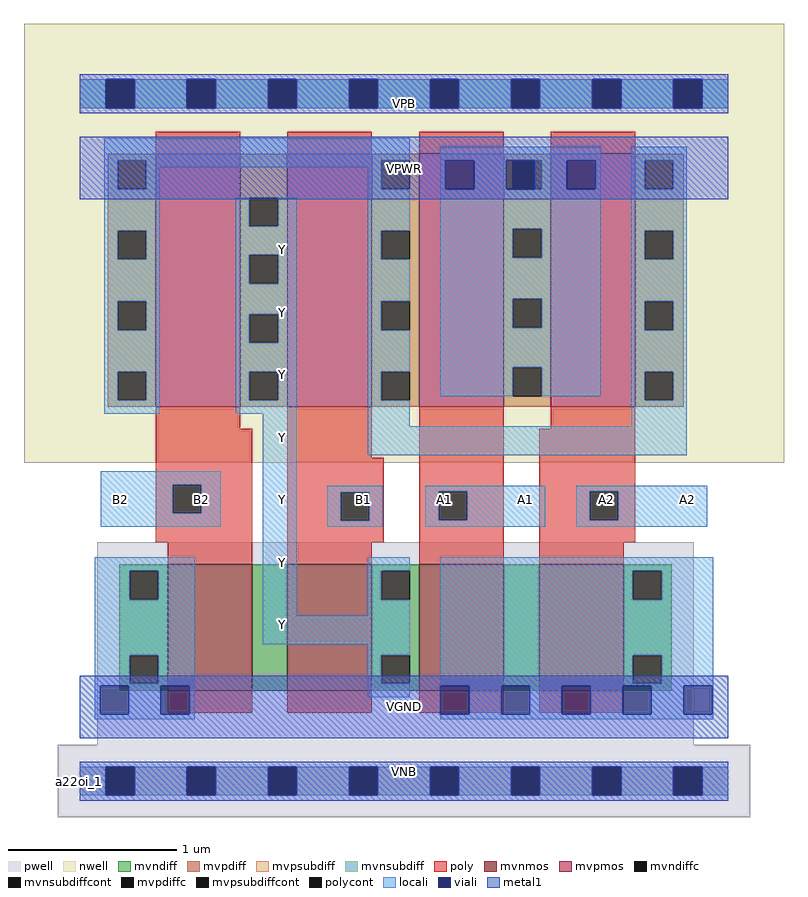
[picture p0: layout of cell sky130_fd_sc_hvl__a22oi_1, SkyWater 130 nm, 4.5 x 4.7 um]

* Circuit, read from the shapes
.subckt sky130_fd_sc_hvl__a22oi_1 A1 A2 B1 B2 VGND VNB VPB VPWR Y
XM1 n1 B2 VGND VNB sky130_fd_pr__nfet_g5v0d10v5 w=0.75 l=0.5
XM2 Y B1 n1 VNB sky130_fd_pr__nfet_g5v0d10v5 w=0.75 l=0.5
XM3 n2 A1 Y VNB sky130_fd_pr__nfet_g5v0d10v5 w=0.75 l=0.5
XM4 VGND A2 n2 VNB sky130_fd_pr__nfet_g5v0d10v5 w=0.75 l=0.5
XM5 Y B2 n3 VPB sky130_fd_pr__pfet_g5v0d10v5 w=1.5 l=0.5
XM6 n3 B1 Y VPB sky130_fd_pr__pfet_g5v0d10v5 w=1.5 l=0.5
XM7 VPWR A1 n3 VPB sky130_fd_pr__pfet_g5v0d10v5 w=1.5 l=0.5
XM8 n3 A2 VPWR VPB sky130_fd_pr__pfet_g5v0d10v5 w=1.5 l=0.5
.ends

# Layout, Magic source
magic
tech sky130A
magscale 1 2
<< nwell >>
rect -66 377 834 897
<< pwell >>
rect 21 43 727 283
rect -26 -43 794 43
<< mvnmos >>
rect 104 107 204 257
rect 246 107 346 257
rect 402 107 502 257
rect 544 107 644 257
<< mvpmos >>
rect 90 443 190 743
rect 246 443 346 743
rect 402 443 502 743
rect 558 443 658 743
<< mvndiff >>
rect 47 249 104 257
rect 47 215 59 249
rect 93 215 104 249
rect 47 149 104 215
rect 47 115 59 149
rect 93 115 104 149
rect 47 107 104 115
rect 204 107 246 257
rect 346 249 402 257
rect 346 215 357 249
rect 391 215 402 249
rect 346 149 402 215
rect 346 115 357 149
rect 391 115 402 149
rect 346 107 402 115
rect 502 107 544 257
rect 644 249 701 257
rect 644 215 655 249
rect 689 215 701 249
rect 644 149 701 215
rect 644 115 655 149
rect 689 115 701 149
rect 644 107 701 115
<< mvpdiff >>
rect 33 735 90 743
rect 33 701 45 735
rect 79 701 90 735
rect 33 652 90 701
rect 33 618 45 652
rect 79 618 90 652
rect 33 568 90 618
rect 33 534 45 568
rect 79 534 90 568
rect 33 485 90 534
rect 33 451 45 485
rect 79 451 90 485
rect 33 443 90 451
rect 190 691 246 743
rect 190 657 201 691
rect 235 657 246 691
rect 190 623 246 657
rect 190 589 201 623
rect 235 589 246 623
rect 190 553 246 589
rect 190 519 201 553
rect 235 519 246 553
rect 190 485 246 519
rect 190 451 201 485
rect 235 451 246 485
rect 190 443 246 451
rect 346 735 402 743
rect 346 701 357 735
rect 391 701 402 735
rect 346 652 402 701
rect 346 618 357 652
rect 391 618 402 652
rect 346 568 402 618
rect 346 534 357 568
rect 391 534 402 568
rect 346 485 402 534
rect 346 451 357 485
rect 391 451 402 485
rect 346 443 402 451
rect 502 735 558 743
rect 502 701 513 735
rect 547 701 558 735
rect 502 654 558 701
rect 502 620 513 654
rect 547 620 558 654
rect 502 571 558 620
rect 502 537 513 571
rect 547 537 558 571
rect 502 490 558 537
rect 502 456 513 490
rect 547 456 558 490
rect 502 443 558 456
rect 658 735 715 743
rect 658 701 669 735
rect 703 701 715 735
rect 658 652 715 701
rect 658 618 669 652
rect 703 618 715 652
rect 658 568 715 618
rect 658 534 669 568
rect 703 534 715 568
rect 658 485 715 534
rect 658 451 669 485
rect 703 451 715 485
rect 658 443 715 451
<< mvndiffc >>
rect 59 215 93 249
rect 59 115 93 149
rect 357 215 391 249
rect 357 115 391 149
rect 655 215 689 249
rect 655 115 689 149
<< mvpdiffc >>
rect 45 701 79 735
rect 45 618 79 652
rect 45 534 79 568
rect 45 451 79 485
rect 201 657 235 691
rect 201 589 235 623
rect 201 519 235 553
rect 201 451 235 485
rect 357 701 391 735
rect 357 618 391 652
rect 357 534 391 568
rect 357 451 391 485
rect 513 701 547 735
rect 513 620 547 654
rect 513 537 547 571
rect 513 456 547 490
rect 669 701 703 735
rect 669 618 703 652
rect 669 534 703 568
rect 669 451 703 485
<< mvpsubdiff >>
rect 0 -17 31 17
rect 65 -17 127 17
rect 161 -17 223 17
rect 257 -17 319 17
rect 353 -17 415 17
rect 449 -17 511 17
rect 545 -17 607 17
rect 641 -17 703 17
rect 737 -17 768 17
<< mvnsubdiff >>
rect 0 797 31 831
rect 65 797 127 831
rect 161 797 223 831
rect 257 797 319 831
rect 353 797 415 831
rect 449 797 511 831
rect 545 797 607 831
rect 641 797 703 831
rect 737 797 768 831
<< mvpsubdiffcont >>
rect 31 -17 65 17
rect 127 -17 161 17
rect 223 -17 257 17
rect 319 -17 353 17
rect 415 -17 449 17
rect 511 -17 545 17
rect 607 -17 641 17
rect 703 -17 737 17
<< mvnsubdiffcont >>
rect 31 797 65 831
rect 127 797 161 831
rect 223 797 257 831
rect 319 797 353 831
rect 415 797 449 831
rect 511 797 545 831
rect 607 797 641 831
rect 703 797 737 831
<< poly >>
rect 90 743 190 769
rect 246 743 346 769
rect 402 743 502 769
rect 558 743 658 769
rect 90 417 190 443
rect 90 351 204 417
rect 90 317 110 351
rect 144 317 204 351
rect 90 283 204 317
rect 104 257 204 283
rect 246 383 346 443
rect 246 342 360 383
rect 246 308 309 342
rect 343 308 360 342
rect 246 283 360 308
rect 402 343 502 443
rect 558 417 658 443
rect 402 309 425 343
rect 459 309 502 343
rect 246 257 346 283
rect 402 257 502 309
rect 544 343 658 417
rect 544 309 604 343
rect 638 309 658 343
rect 544 283 658 309
rect 544 257 644 283
rect 104 81 204 107
rect 246 81 346 107
rect 402 81 502 107
rect 544 81 644 107
<< polycont >>
rect 110 317 144 351
rect 309 308 343 342
rect 425 309 459 343
rect 604 309 638 343
<< locali >>
rect 0 797 31 831
rect 65 797 127 831
rect 161 797 223 831
rect 257 797 319 831
rect 353 797 415 831
rect 449 797 511 831
rect 545 797 607 831
rect 641 797 703 831
rect 737 797 768 831
rect 29 735 391 761
rect 29 701 45 735
rect 79 727 357 735
rect 79 701 95 727
rect 29 652 95 701
rect 341 701 357 727
rect 29 618 45 652
rect 79 618 95 652
rect 29 568 95 618
rect 29 534 45 568
rect 79 534 95 568
rect 29 485 95 534
rect 29 451 45 485
rect 79 451 95 485
rect 29 435 95 451
rect 185 657 201 691
rect 235 657 257 691
rect 185 623 257 657
rect 185 589 201 623
rect 235 589 257 623
rect 185 553 257 589
rect 185 519 201 553
rect 235 519 257 553
rect 185 485 257 519
rect 185 451 201 485
rect 235 451 257 485
rect 185 435 257 451
rect 25 351 167 367
rect 25 317 110 351
rect 144 317 167 351
rect 25 301 167 317
rect 18 249 136 265
rect 18 215 59 249
rect 93 215 136 249
rect 18 149 136 215
rect 217 196 257 435
rect 341 652 391 701
rect 341 618 357 652
rect 341 568 391 618
rect 341 534 357 568
rect 341 485 391 534
rect 341 451 357 485
rect 427 735 617 751
rect 427 701 433 735
rect 467 701 505 735
rect 547 701 577 735
rect 611 701 617 735
rect 427 654 617 701
rect 427 620 513 654
rect 547 620 617 654
rect 427 571 617 620
rect 427 537 513 571
rect 547 537 617 571
rect 427 490 617 537
rect 427 456 513 490
rect 547 456 617 490
rect 653 735 719 751
rect 653 701 669 735
rect 703 701 719 735
rect 653 652 719 701
rect 653 618 669 652
rect 703 618 719 652
rect 653 568 719 618
rect 653 534 669 568
rect 703 534 719 568
rect 653 485 719 534
rect 341 420 391 451
rect 653 451 669 485
rect 703 451 719 485
rect 653 420 719 451
rect 341 386 719 420
rect 293 342 359 350
rect 293 308 309 342
rect 343 308 359 342
rect 293 301 359 308
rect 409 343 551 350
rect 409 309 425 343
rect 459 309 551 343
rect 409 301 551 309
rect 588 343 743 350
rect 588 309 604 343
rect 638 309 743 343
rect 588 301 743 309
rect 341 249 391 265
rect 341 215 357 249
rect 341 196 391 215
rect 217 162 391 196
rect 18 115 59 149
rect 93 115 136 149
rect 18 113 136 115
rect 18 79 24 113
rect 58 79 96 113
rect 130 79 136 113
rect 341 149 391 162
rect 341 115 357 149
rect 341 99 391 115
rect 427 249 750 265
rect 427 215 655 249
rect 689 215 750 249
rect 427 149 750 215
rect 427 115 655 149
rect 689 115 750 149
rect 427 113 750 115
rect 18 73 136 79
rect 461 79 499 113
rect 533 79 571 113
rect 605 79 643 113
rect 677 79 715 113
rect 749 79 750 113
rect 427 73 750 79
rect 0 -17 31 17
rect 65 -17 127 17
rect 161 -17 223 17
rect 257 -17 319 17
rect 353 -17 415 17
rect 449 -17 511 17
rect 545 -17 607 17
rect 641 -17 703 17
rect 737 -17 768 17
<< viali >>
rect 31 797 65 831
rect 127 797 161 831
rect 223 797 257 831
rect 319 797 353 831
rect 415 797 449 831
rect 511 797 545 831
rect 607 797 641 831
rect 703 797 737 831
rect 433 701 467 735
rect 505 701 513 735
rect 513 701 539 735
rect 577 701 611 735
rect 24 79 58 113
rect 96 79 130 113
rect 427 79 461 113
rect 499 79 533 113
rect 571 79 605 113
rect 643 79 677 113
rect 715 79 749 113
rect 31 -17 65 17
rect 127 -17 161 17
rect 223 -17 257 17
rect 319 -17 353 17
rect 415 -17 449 17
rect 511 -17 545 17
rect 607 -17 641 17
rect 703 -17 737 17
<< metal1 >>
rect 0 831 768 837
rect 0 797 31 831
rect 65 797 127 831
rect 161 797 223 831
rect 257 797 319 831
rect 353 797 415 831
rect 449 797 511 831
rect 545 797 607 831
rect 641 797 703 831
rect 737 797 768 831
rect 0 791 768 797
rect 0 735 768 763
rect 0 701 433 735
rect 467 701 505 735
rect 539 701 577 735
rect 611 701 768 735
rect 0 689 768 701
rect 0 113 768 125
rect 0 79 24 113
rect 58 79 96 113
rect 130 79 427 113
rect 461 79 499 113
rect 533 79 571 113
rect 605 79 643 113
rect 677 79 715 113
rect 749 79 768 113
rect 0 51 768 79
rect 0 17 768 23
rect 0 -17 31 17
rect 65 -17 127 17
rect 161 -17 223 17
rect 257 -17 319 17
rect 353 -17 415 17
rect 449 -17 511 17
rect 545 -17 607 17
rect 641 -17 703 17
rect 737 -17 768 17
rect 0 -23 768 -17
<< labels >>
rlabel comment s 0 0 0 0 4 a22oi_1
flabel metal1 s 0 51 768 125 0 FreeSans 340 0 0 0 VGND
port 5 nsew ground bidirectional
flabel metal1 s 0 0 768 23 0 FreeSans 340 0 0 0 VNB
port 6 nsew ground bidirectional
flabel metal1 s 0 689 768 763 0 FreeSans 340 0 0 0 VPWR
port 8 nsew power bidirectional
flabel metal1 s 0 791 768 814 0 FreeSans 340 0 0 0 VPB
port 7 nsew power bidirectional
flabel locali s 415 316 449 350 0 FreeSans 340 0 0 0 A1
port 1 nsew signal input
flabel locali s 511 316 545 350 0 FreeSans 340 0 0 0 A1
port 1 nsew signal input
flabel locali s 223 168 257 202 0 FreeSans 340 0 0 0 Y
port 9 nsew signal output
flabel locali s 223 242 257 276 0 FreeSans 340 0 0 0 Y
port 9 nsew signal output
flabel locali s 223 316 257 350 0 FreeSans 340 0 0 0 Y
port 9 nsew signal output
flabel locali s 223 390 257 424 0 FreeSans 340 0 0 0 Y
port 9 nsew signal output
flabel locali s 223 464 257 498 0 FreeSans 340 0 0 0 Y
port 9 nsew signal output
flabel locali s 223 538 257 572 0 FreeSans 340 0 0 0 Y
port 9 nsew signal output
flabel locali s 223 612 257 646 0 FreeSans 340 0 0 0 Y
port 9 nsew signal output
flabel locali s 607 316 641 350 0 FreeSans 340 0 0 0 A2
port 2 nsew signal input
flabel locali s 703 316 737 350 0 FreeSans 340 0 0 0 A2
port 2 nsew signal input
flabel locali s 319 316 353 350 0 FreeSans 340 0 0 0 B1
port 3 nsew signal input
flabel locali s 31 316 65 350 0 FreeSans 340 0 0 0 B2
port 4 nsew signal input
flabel locali s 127 316 161 350 0 FreeSans 340 0 0 0 B2
port 4 nsew signal input
<< properties >>
string FIXED_BBOX 0 0 768 814
string GDS_END 794382
string GDS_FILE $PDKPATH/libs.ref/sky130_fd_sc_hvl/gds/sky130_fd_sc_hvl.gds
string GDS_START 783900
string LEFclass CORE
string LEFsite unithv
string LEFsymmetry X Y
<< end >>
